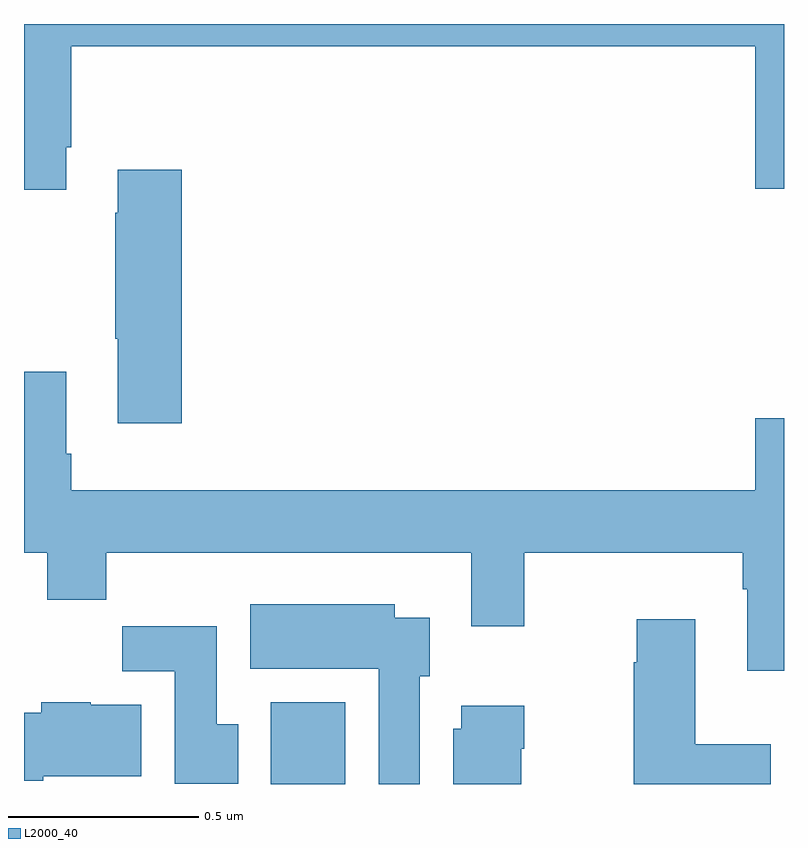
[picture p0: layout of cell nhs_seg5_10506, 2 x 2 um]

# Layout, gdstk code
import gdstk
lib = gdstk.Library(unit=1e-6, precision=1e-09)
def R(c, l, rs):  # rectangles x0, y0, x1, y1
    for r in rs: c.add(gdstk.rectangle(r[:2], r[2:], *l))
def P(c, l, *ps):  # polygons
    for p in ps: c.add(gdstk.Polygon(p, *l))
L2000_40 = (2000, 40)

nhs_seg5_10506 = lib.new_cell('nhs_seg5_10506')
R(nhs_seg5_10506, L2000_40, [(247.649,874.799,247.846,875.014)])
P(nhs_seg5_10506, L2000_40, [(247.111,876.475),(247.124,876.475),(247.124,876.74),(248.924,876.74),(248.924,876.366),(249,876.366),(249,876.799),(247,876.799),(247,876.363),(247.111,876.363)],
  [(247.415,876.415),(247.247,876.415),(247.247,876.302),(247.24,876.302),(247.24,875.971),(247.247,875.971),(247.247,875.748),(247.415,875.748)],
  [(249,875.761),(248.924,875.761),(248.924,875.572),(247.124,875.572),(247.124,875.668),(247.111,875.668),(247.111,875.884),(247,875.884),(247,875.408),(247.061,875.408),(247.061,875.284),(247.217,875.284),(247.217,875.408),(248.177,875.408),(248.177,875.214),(248.317,875.214),(248.317,875.408),(248.891,875.408),(248.891,875.312),(248.903,875.312),(248.903,875.097),(249,875.097)],
  [(248.041,875.082),(248.068,875.082),(248.068,875.236),(247.975,875.236),(247.975,875.272),(247.595,875.272),(247.595,875.102),(247.934,875.102),(247.934,874.799),(248.041,874.799)],
  [(248.965,874.903),(248.767,874.903),(248.767,875.233),(248.612,875.233),(248.612,875.12),(248.605,875.12),(248.605,874.799),(248.965,874.799)],
  [(247.564,874.956),(247.507,874.956),(247.507,875.214),(247.258,875.214),(247.258,875.096),(247.397,875.096),(247.397,874.8),(247.564,874.8)],
  [(247.051,874.82),(247.309,874.82),(247.309,875.008),(247.176,875.008),(247.176,875.014),(247.046,875.014),(247.046,874.986),(247,874.986),(247,874.808),(247.051,874.808)],
  [(248.308,874.892),(248.316,874.892),(248.316,875.005),(248.15,875.005),(248.15,874.944),(248.129,874.944),(248.129,874.799),(248.308,874.799)])

lib.write_gds('nhs_seg5_10506.gds')
